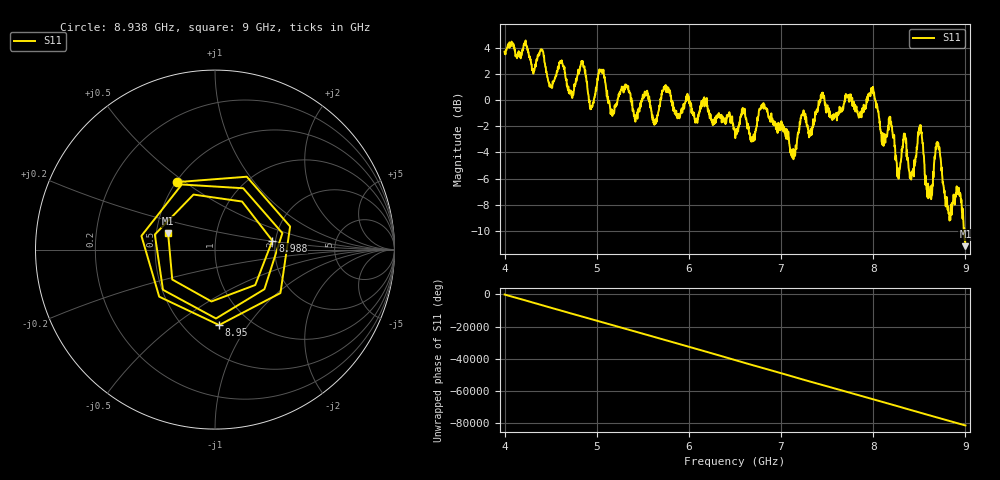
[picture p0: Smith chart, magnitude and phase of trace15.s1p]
! Created with skrf 1.8.0 (http://scikit-rf.org).
# Hz S RI R 50.0
!freq ReS11 ImS11
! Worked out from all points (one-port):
!   1601 points, 4 GHz to 9 GHz, reference 50 ohm
!   lowest |S11| = -11.1 dB at 9 GHz (marker M1), VSWR 1.77, Z = 28.9 + j5.74 ohm
!   |S11| at or under -10 dB: 8.98276 GHz to 8.986224 GHz (3.464 MHz wide, 0.0386 % of centre); 8.988854 GHz to end of sweep
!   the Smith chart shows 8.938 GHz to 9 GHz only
!   S11 on the Smith chart (normalised r, x): 8.938 GHz: 0.51, +0.47; 8.95 GHz: 0.73, -0.74; 8.988 GHz: 1.92, +0.21; 9 GHz: 0.58, +0.11
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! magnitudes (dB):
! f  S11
! 4 GHz  3.7
! 4.5 GHz  1.1
! 4.625 GHz  2.8
! 4.722 GHz  0.7
! 4.85 GHz  2.7
! 4.941 GHz  -0.5
! 5.047 GHz  2.2
! 5.166 GHz  -0.9
! 5.25 GHz  0.6
! 5.875 GHz  -1.4
! 6.5 GHz  -2.4
! 6.691 GHz  -3.0
! 6.812 GHz  -0.7
! 7.125 GHz  -4.4
! 7.238 GHz  -1.1
! 7.75 GHz  0.4
! 7.997 GHz  1.0
! 8.266 GHz  -5.2
! 8.375 GHz  -4.4
! 8.422 GHz  -5.6
! 8.509 GHz  -2.0
! 8.612 GHz  -6.9
! 8.7 GHz  -3.3
! 8.812 GHz  -8.1
! 8.938 GHz  -7.3
! 8.95 GHz  -7.5
! 8.988 GHz  -9.8
! 9 GHz  -11.1
